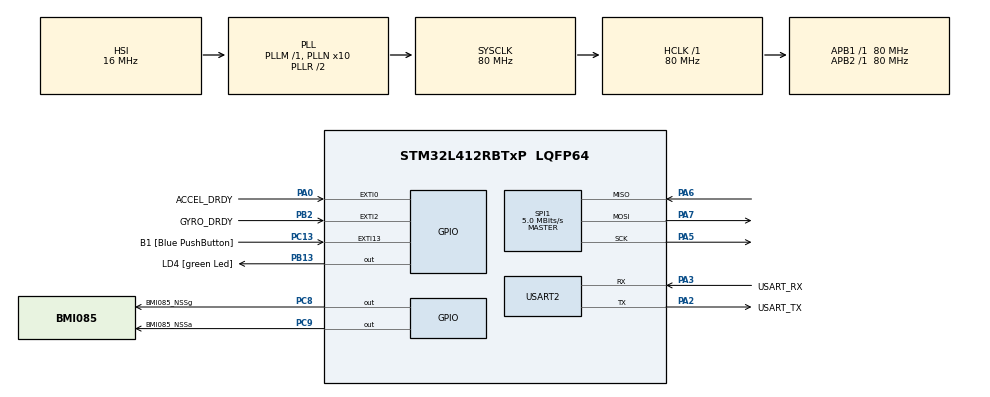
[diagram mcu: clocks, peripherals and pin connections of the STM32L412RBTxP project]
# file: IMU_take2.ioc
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Dma.Request0=SPI1_RX
Dma.Request1=SPI1_TX
Dma.SPI1_RX.0.Direction=DMA_PERIPH_TO_MEMORY
Dma.SPI1_RX.0.Instance=DMA1_Channel2
Dma.SPI1_RX.0.MemDataAlignment=DMA_MDATAALIGN_BYTE
Dma.SPI1_RX.0.MemInc=DMA_MINC_ENABLE
Dma.SPI1_RX.0.Mode=DMA_NORMAL
Dma.SPI1_RX.0.PeriphDataAlignment=DMA_PDATAALIGN_BYTE
Dma.SPI1_RX.0.PeriphInc=DMA_PINC_DISABLE
Dma.SPI1_RX.0.Priority=DMA_PRIORITY_LOW
Dma.SPI1_TX.1.Direction=DMA_MEMORY_TO_PERIPH
Dma.SPI1_TX.1.Instance=DMA1_Channel3
Dma.SPI1_TX.1.MemDataAlignment=DMA_MDATAALIGN_BYTE
Dma.SPI1_TX.1.MemInc=DMA_MINC_ENABLE
Dma.SPI1_TX.1.Mode=DMA_NORMAL
Dma.SPI1_TX.1.PeriphDataAlignment=DMA_PDATAALIGN_BYTE
Dma.SPI1_TX.1.PeriphInc=DMA_PINC_DISABLE
Dma.SPI1_TX.1.Priority=DMA_PRIORITY_LOW
Mcu.Family=STM32L4
Mcu.Name=STM32L412RBTxP
Mcu.Package=LQFP64
NVIC.DMA1_Channel2_IRQn=true\:0\:0\:false\:false\:true\:false\:true\:true
NVIC.DMA1_Channel3_IRQn=true\:0\:0\:false\:false\:true\:false\:true\:true
NVIC.EXTI0_IRQn=true\:0\:0\:false\:false\:true\:true\:true\:true
NVIC.EXTI2_IRQn=true\:0\:0\:false\:false\:true\:true\:true\:true
NVIC.PriorityGroup=NVIC_PRIORITYGROUP_4
PA0.GPIO_Label=ACCEL_DRDY
PA0.GPIO_ModeDefaultEXTI=GPIO_MODE_IT_FALLING
PA0.Signal=GPXTI0
PA13\ (JTMS/SWDIO).GPIO_Label=TMS
PA13\ (JTMS/SWDIO).Mode=Serial_Wire
PA13\ (JTMS/SWDIO).Signal=SYS_JTMS-SWDIO
PA14\ (JTCK/SWCLK).GPIO_Label=TCK
PA14\ (JTCK/SWCLK).Mode=Serial_Wire
PA14\ (JTCK/SWCLK).Signal=SYS_JTCK-SWCLK
PA2.GPIO_Label=USART_TX
PA2.GPIO_PuPd=GPIO_NOPULL
PA2.GPIO_Speed=GPIO_SPEED_FREQ_VERY_HIGH
PA2.Mode=Asynchronous
PA2.Signal=USART2_TX
PA3.GPIO_Label=USART_RX
PA3.GPIO_PuPd=GPIO_NOPULL
PA3.GPIO_Speed=GPIO_SPEED_FREQ_VERY_HIGH
PA3.Mode=Asynchronous
PA3.Signal=USART2_RX
PA5.Mode=Full_Duplex_Master
PA5.Signal=SPI1_SCK
PA6.Mode=Full_Duplex_Master
PA6.Signal=SPI1_MISO
PA7.Mode=Full_Duplex_Master
PA7.Signal=SPI1_MOSI
PB13.GPIO_Label=LD4 [green Led]
PB13.GPIO_Speed=GPIO_SPEED_FREQ_LOW
PB13.Signal=GPIO_Output
PB2.GPIO_Label=GYRO_DRDY
PB2.GPIO_ModeDefaultEXTI=GPIO_MODE_IT_FALLING
PB2.Signal=GPXTI2
PB3\ (JTDO/TRACESWO).GPIO_Label=SWO
PB3\ (JTDO/TRACESWO).Signal=SYS_JTDO-SWO
PC13.GPIO_Label=B1 [Blue PushButton]
PC13.GPIO_ModeDefaultEXTI=GPIO_MODE_IT_FALLING
PC13.GPIO_PuPd=GPIO_NOPULL
PC13.Signal=GPXTI13
PC8.GPIO_Label=BMI085_NSSg
PC8.GPIO_Speed=GPIO_SPEED_FREQ_LOW
PC8.PinState=GPIO_PIN_SET
PC8.Signal=GPIO_Output
PC9.GPIO_Label=BMI085_NSSa
PC9.GPIO_Speed=GPIO_SPEED_FREQ_LOW
PC9.PinState=GPIO_PIN_SET
PC9.Signal=GPIO_Output
PH0-OSC_IN\ (PH0).GPIO_Label=MCO
PH0-OSC_IN\ (PH0).Mode=HSE-External-Clock-Source
PH0-OSC_IN\ (PH0).Signal=RCC_OSC_IN
ProjectManager.HeapSize=0x2000
ProjectManager.StackSize=0x4000
ProjectManager.TargetToolchain=STM32CubeIDE
RCC.ADCFreq_Value=80000000
RCC.AHBFreq_Value=80000000
RCC.APB1Freq_Value=80000000
RCC.APB1TimFreq_Value=80000000
RCC.APB2Freq_Value=80000000
RCC.APB2TimFreq_Value=80000000
RCC.CortexFreq_Value=80000000
RCC.HCLKFreq_Value=80000000
RCC.HSE_VALUE=8000000
RCC.HSI48_VALUE=48000000
RCC.HSI_VALUE=16000000
RCC.LSE_VALUE=32768
RCC.MSI_VALUE=4000000
RCC.PLLN=10
RCC.PLLSourceVirtual=RCC_PLLSOURCE_HSI
RCC.SYSCLKFreq_VALUE=80000000
RCC.SYSCLKSource=RCC_SYSCLKSOURCE_PLLCLK
RCC.USBFreq_Value=4000000
RCC.VCOOutputFreq_Value=160000000
SPI1.BaudRatePrescaler=SPI_BAUDRATEPRESCALER_16
SPI1.CalculateBaudRate=5.0 MBits/s
SPI1.DataSize=SPI_DATASIZE_8BIT
SPI1.Direction=SPI_DIRECTION_2LINES
SPI1.Mode=SPI_MODE_MASTER
SPI1.VirtualType=VM_MASTER
TIM2.Period=0xffffffff-1
TIM2.Prescaler=80-1
USART2.VirtualMode-Asynchronous=VM_ASYNC
VP_TIM2_VS_ClockSourceINT.Mode=Internal
board=NUCLEO-L412RB-P

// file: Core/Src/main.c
/* USER CODE BEGIN Header */
/**
 ******************************************************************************
 * @file           : main.c
 * @brief          : Main program body
 ******************************************************************************
 * @attention
 *
 * Copyright (c) 2023 STMicroelectronics.
 * All rights reserved.
 *
 * This software is licensed under terms that can be found in the LICENSE file
 * in the root directory of this software component.
 * If no LICENSE file comes with this software, it is provided AS-IS.
 *
 ******************************************************************************
 */
/* USER CODE END Header */
#include "main.h"

/* USER CODE BEGIN Includes */
#include <stdio.h>
#include <stdlib.h>
#include <stdint.h>
#include <string.h>
#include <math.h>
#include "bmi08x.h"
#include "bmi08x_defs.h"

/* USER CODE END Includes */

/* USER CODE BEGIN PM */
#define GRAVITY_EARTH  (9.80665f)

/******************************************************************************/
/*!                       Macro definitions                                   */

#define BMI08X_READ_WRITE_LEN  UINT8_C(46)

/*! BMI085 shuttle id */
#define BMI085_SHUTTLE_ID      UINT16_C(0x46)

/*! BMI088 shuttle id */
#define BMI088_SHUTTLE_ID      UINT16_C(0x66)

/* USER CODE END PM */

SPI_HandleTypeDef hspi1;
DMA_HandleTypeDef hdma_spi1_rx;
DMA_HandleTypeDef hdma_spi1_tx;

TIM_HandleTypeDef htim2;

UART_HandleTypeDef huart2;

/* USER CODE BEGIN PV */

/*********************************************************************/
/* global variables */
/*********************************************************************/
unsigned char data_sync_int = false;
unsigned char accel_data_ready = false;
unsigned char gyro_data_ready = false;
volatile uint8_t rx_rdy = 1;
volatile uint8_t tx_rdy = 1;

uint8_t * current_reg_data_ptr;
uint32_t current__len = 0;
uint16_t dev_addr;

uint8_t error_status = 0;
/*! @brief This structure containing relevant bmi08x info */
struct bmi08x_dev bmi08xdev;

/*! bmi08x int config */
struct bmi08x_int_cfg int_config;

/*Data Sync configuration object*/
struct bmi08x_data_sync_cfg sync_cfg;

/*! bmi08x accel int config */
struct bmi08x_accel_int_channel_cfg accel_int_config;

/*! bmi08x gyro int config */
struct bmi08x_gyro_int_channel_cfg gyro_int_config;

/*! @brief variable to hold the bmi08x accel data */
struct bmi08x_sensor_data bmi08x_accel;

/*! @brief variable to hold the bmi08x gyro data */
struct bmi08x_sensor_data bmi08x_gyro;

///*! Variable that holds the I2C device address or SPI chip selection for accel */
uint16_t acc_dev_add;
//
///*! Variable that holds the I2C device address or SPI chip selection for gyro */
uint16_t gyro_dev_add;
/* USER CODE END PV */

void SystemClock_Config(void);
static void MX_GPIO_Init(void);
static void MX_DMA_Init(void);
static void MX_USART2_UART_Init(void);
static void MX_SPI1_Init(void);
static void MX_TIM2_Init(void);
/* USER CODE BEGIN PFP */

/*********************************************************************/
/* function declarations */
/*********************************************************************/
BMI08X_INTF_RET_TYPE bmi08x_spi_read(uint8_t reg_addr, uint8_t *reg_data,
		uint32_t len, void *intf_ptr);

/*!
 *  @brief Function for writing the sensor's registers through SPI bus.
 *
 *  @param[in] reg_addr     : Register address.
 *  @param[in] reg_data     : Pointer to the data buffer whose data has to be written.
 *  @param[in] length       : No of bytes to write.
 *  @param[in] intf_ptr     : Interface pointer
 *
 *  @return Status of execution
 *  @retval = BMI08X_INTF_RET_SUCCESS -> Success
 *  @retval != BMI08X_INTF_RET_SUCCESS  -> Failure Info
 *
 */
BMI08X_INTF_RET_TYPE bmi08x_spi_write(uint8_t reg_addr, const uint8_t *reg_data,
		uint32_t len, void *intf_ptr);

/*!
 * @brief This function provides the delay for required time (Microsecond) as per the input provided in some of the
 * APIs.
 *
 *  @param[in] period_us    : The required wait time in microsecond.
 *  @param[in] intf_ptr     : Interface pointer
 *
 *  @return void.
 *
 */
void bmi08x_delay_us(uint32_t period, void *intf_ptr);

/*!
 *  @brief Function to select the interface between SPI and I2C.
 *
 *  @param[in] bma      : Structure instance of bmi08x_dev
 *  @param[in] intf     : Interface selection parameter
 *                          For I2C : BMI08X_I2C_INTF
 *                          For SPI : BMI08X_SPI_INTF
 *  @param[in] variant  : Sensor variant parameter
 *                          For BMI085 : BMI085_VARIANT
 *                          For BMI088 : BMI088_VARIANT
 *
 *  @return Status of execution
 *  @retval 0 -> Success
 *  @retval < 0 -> Failure Info
 */
int8_t bmi08x_interface_init(struct bmi08x_dev *bma, uint8_t intf,
		uint8_t variant);

/*!
 *  @brief Prints the execution status of the APIs.
 *
 *  @param[in] api_name : Name of the API whose execution status has to be printed.
 *  @param[in] rslt     : Error code returned by the API whose execution status has to be printed.
 *
 *  @return void.
 */
void bmi08x_error_codes_print_result(const char api_name[], int8_t rslt);

/*!
 *  @brief This internal function converts lsb to meter per second squared for 16 bit accelerometer for
 *  range 2G, 4G, 8G or 16G.
 *
 *  @param[in] val       : LSB from each axis.
 *  @param[in] g_range   : Gravity range.
 *  @param[in] bit_width : Resolution for accel.
 *
 *  @return Gravity.
 */
static float lsb_to_mps2(int16_t val, int8_t g_range, uint8_t bit_width);

/*!
 *  @brief This function converts lsb to degree per second for 16 bit gyro at
 *  range 125, 250, 500, 1000 or 2000dps.
 *
 *  @param[in] val       : LSB from each axis.
 *  @param[in] dps       : Degree per second.
 *  @param[in] bit_width : Resolution for gyro.
 *
 *  @return Degree per second.
 */
static float lsb_to_dps(int16_t val, float dps, uint8_t bit_width);

/*!
 * @brief    This internal API is used to initialize the bmi08x sensor
 */
static int8_t init_bmi08x_sync(void);
static int8_t init_bmi08x_get_data(void);

/*!
 * @brief    BMI08x data sync. interrupt callback
 */
void bmi08x_data_sync_int();

/* USER CODE END PFP */

/* USER CODE BEGIN 0 */

#ifdef __GNUC__
#define PUTCHAR_PROTOTYPE int __io_putchar(int ch)
#else
#define PUTCHAR_PROTOTYPE int fputc(int ch, FILE *f)
#endif

PUTCHAR_PROTOTYPE {
	HAL_UART_Transmit(&huart2, (uint8_t*) &ch, 1, HAL_MAX_DELAY);
}
/*********************************************************************/
/* functions */
/*********************************************************************/

/*!
 *  @brief This internal API is used to initializes the bmi08x sensor
 *  settings like power mode and OSRS settings.
 *
 *  @param[in] void
 *
 *  @return void
 *
 */
static int8_t init_bmi08x_get_data(void) {
	int8_t rslt;

	rslt = bmi08a_init(&bmi08xdev);
	bmi08x_error_codes_print_result("bmi08a_init", rslt);
	printf("Accel init\n\r");

	if (rslt == BMI08X_OK) {

		rslt = bmi08g_init(&bmi08xdev);
		bmi08x_error_codes_print_result("bmi08g_init", rslt);
		printf("Gyro init\n\r");
	}
//	printf("help\n");
//    if (rslt == BMI08X_OK)
//    {
//        printf("Uploading config file !\n");
//        rslt = bmi08a_load_config_file(&bmi08xdev);
//        bmi08x_error_codes_print_result("bmi08a_load_config_file", rslt);
//    }

	if (rslt == BMI08X_OK) {
		printf("init done\n\r");
		bmi08xdev.accel_cfg.odr = BMI08X_ACCEL_ODR_1600_HZ;

		if (bmi08xdev.variant == BMI085_VARIANT) {
			bmi08xdev.accel_cfg.range = BMI085_ACCEL_RANGE_16G;
		} else if (bmi08xdev.variant == BMI088_VARIANT) {
			bmi08xdev.accel_cfg.range = BMI088_ACCEL_RANGE_24G;
		}

		bmi08xdev.accel_cfg.power = BMI08X_ACCEL_PM_ACTIVE; /*user_accel_power_modes[user_bmi088_accel_low_power]; */
		bmi08xdev.accel_cfg.bw = BMI08X_ACCEL_BW_NORMAL; /* Bandwidth and OSR are same */

		rslt = bmi08a_set_power_mode(&bmi08xdev);
		bmi08x_error_codes_print_result("bmi08a_set_power_mode", rslt);

		rslt = bmi08a_set_meas_conf(&bmi08xdev);
		bmi08x_error_codes_print_result("bmi08a_set_meas_conf", rslt);

		bmi08xdev.gyro_cfg.odr = BMI08X_GYRO_BW_230_ODR_2000_HZ;
		bmi08xdev.gyro_cfg.range = BMI08X_GYRO_RANGE_250_DPS;
		bmi08xdev.gyro_cfg.bw = BMI08X_GYRO_BW_230_ODR_2000_HZ;
		bmi08xdev.gyro_cfg.power = BMI08X_GYRO_PM_NORMAL;

		rslt = bmi08g_set_power_mode(&bmi08xdev);
		bmi08x_error_codes_print_result("bmi08g_set_power_mode", rslt);

		rslt = bmi08g_set_meas_conf(&bmi08xdev);
		bmi08x_error_codes_print_result("bmi08g_set_meas_conf", rslt);
	}

	return rslt;

}

/*!
 *  @brief This internal API is used to initializes the bmi08x sensor with default.
 *
 *  @param[in] void
 *
 *  @return void
 *
 */
static int8_t init_bmi08x_sync(void) {
	int8_t rslt;

	/* Initialize bmi08a */
	rslt = bmi08a_init(&bmi08xdev);
	bmi08x_error_codes_print_result("bmi08a_init", rslt);

	/* Initialize bmi08g */
	rslt = bmi08g_init(&bmi08xdev);
	bmi08x_error_codes_print_result("bmi08g_init", rslt);

	if (rslt == BMI08X_OK) {
		printf("BMI08x initialization success!\n");
		printf("Accel chip ID - 0x%x\n", bmi08xdev.accel_chip_id);
		printf("Gyro chip ID - 0x%x\n", bmi08xdev.gyro_chip_id);

		/* Reset the accelerometer */
		rslt = bmi08a_soft_reset(&bmi08xdev);
		bmi08x_error_codes_print_result("bmi08a_soft_reset", rslt);

		/* Read/write length */
		bmi08xdev.read_write_len = 32;

		printf("Uploading BMI08X data synchronization feature config !\n");
		rslt = bmi08a_load_config_file(&bmi08xdev);
		bmi08x_error_codes_print_result("bmi08a_load_config_file", rslt);

		/* Set accel power mode */
		bmi08xdev.accel_cfg.power = BMI08X_ACCEL_PM_ACTIVE;
		rslt = bmi08a_set_power_mode(&bmi08xdev);
		bmi08x_error_codes_print_result("bmi08a_set_power_mode", rslt);

		if (rslt == BMI08X_OK) {
			bmi08xdev.gyro_cfg.power = BMI08X_GYRO_PM_NORMAL;
			rslt = bmi08g_set_power_mode(&bmi08xdev);
			bmi08x_error_codes_print_result("bmi08g_set_power_mode", rslt);
		}

		if ((bmi08xdev.accel_cfg.power == BMI08X_ACCEL_PM_ACTIVE)
				&& (bmi08xdev.gyro_cfg.power == BMI08X_GYRO_PM_NORMAL)) {
			/* API uploads the bmi08x config file onto the device */
			if (rslt == BMI08X_OK) {
				/* Assign accel range setting */
				if (bmi08xdev.variant == BMI085_VARIANT) {
					bmi08xdev.accel_cfg.range = BMI085_ACCEL_RANGE_16G;
				} else if (bmi08xdev.variant == BMI088_VARIANT) {
					bmi08xdev.accel_cfg.range = BMI088_ACCEL_RANGE_24G;
				}

				/* Assign gyro range setting */
				bmi08xdev.gyro_cfg.range = BMI08X_GYRO_RANGE_2000_DPS;

				/* Mode (0 = off, 1 = 400Hz, 2 = 1kHz, 3 = 2kHz) */
				sync_cfg.mode = BMI08X_ACCEL_DATA_SYNC_MODE_400HZ;

				rslt = bmi08a_configure_data_synchronization(sync_cfg,
						&bmi08xdev);
				bmi08x_error_codes_print_result(
						"bmi08a_configure_data_synchronization", rslt);
			}

			if (rslt == BMI08X_OK) {
				printf("BMI08x data synchronization feature configured !\n\n");
			} else {
				printf(
						"BMI08x data synchronization feature configuration failure!\n\n");
			}
		}
	}

	return rslt;
}
/*!
 *  @brief This API is used to enable bmi08x interrupt
 *
 *  @param[in] void
 *
 *  @return void
 *
 */
static int8_t enable_bmi08x_interrupt() {
	int8_t rslt;
	uint8_t data = 0;

	/* Set accel interrupt pin configuration */
	accel_int_config.int_channel = BMI08X_INT_CHANNEL_1;
	accel_int_config.int_type = BMI08X_ACCEL_INT_DATA_RDY;
	accel_int_config.int_pin_cfg.output_mode = BMI08X_INT_MODE_PUSH_PULL;
	accel_int_config.int_pin_cfg.lvl = BMI08X_INT_ACTIVE_HIGH;
	accel_int_config.int_pin_cfg.enable_int_pin = BMI08X_ENABLE;

	/* Enable accel data ready interrupt channel */
	rslt = bmi08a_set_int_config(
			(const struct bmi08x_accel_int_channel_cfg*) &accel_int_config,
			&bmi08xdev);
	bmi08x_error_codes_print_result("bmi08a_set_int_config", rslt);

	if (rslt == BMI08X_OK) {
		/* Set gyro interrupt pin configuration */
		gyro_int_config.int_channel = BMI08X_INT_CHANNEL_3;
		gyro_int_config.int_type = BMI08X_GYRO_INT_DATA_RDY;
		gyro_int_config.int_pin_cfg.output_mode = BMI08X_INT_MODE_PUSH_PULL;
		gyro_int_config.int_pin_cfg.lvl = BMI08X_INT_ACTIVE_HIGH;
		gyro_int_config.int_pin_cfg.enable_int_pin = BMI08X_ENABLE;

		/* Enable gyro data ready interrupt channel */
		rslt = bmi08g_set_int_config(
				(const struct bmi08x_gyro_int_channel_cfg*) &gyro_int_config,
				&bmi08xdev);
		bmi08x_error_codes_print_result("bmi08g_set_int_config", rslt);

		rslt = bmi08g_get_regs(BMI08X_REG_GYRO_INT3_INT4_IO_MAP, &data, 1,
				&bmi08xdev);
		bmi08x_error_codes_print_result("bmi08g_get_regs", rslt);
	}

	return rslt;
}

/*!
 *  @brief This API is used to disable bmi08x interrupt
 *
 *  @param[in] void
 *
 *  @return void
 *
 */
static int8_t disable_bmi08x_interrupt() {
	int8_t rslt;

	/* Set accel interrupt pin configuration */
	accel_int_config.int_channel = BMI08X_INT_CHANNEL_1;
	accel_int_config.int_type = BMI08X_ACCEL_INT_DATA_RDY;
	accel_int_config.int_pin_cfg.output_mode = BMI08X_INT_MODE_PUSH_PULL;
	accel_int_config.int_pin_cfg.lvl = BMI08X_INT_ACTIVE_HIGH;
	accel_int_config.int_pin_cfg.enable_int_pin = BMI08X_DISABLE;

	/* Disable accel data ready interrupt channel */
	rslt = bmi08a_set_int_config(
			(const struct bmi08x_accel_int_channel_cfg*) &accel_int_config,
			&bmi08xdev);
	bmi08x_error_codes_print_result("bmi08a_set_int_config", rslt);

	if (rslt == BMI08X_OK) {
		/* Set gyro interrupt pin configuration */
		gyro_int_config.int_channel = BMI08X_INT_CHANNEL_3;
		gyro_int_config.int_type = BMI08X_GYRO_INT_DATA_RDY;
		gyro_int_config.int_pin_cfg.output_mode = BMI08X_INT_MODE_PUSH_PULL;
		gyro_int_config.int_pin_cfg.lvl = BMI08X_INT_ACTIVE_HIGH;
		gyro_int_config.int_pin_cfg.enable_int_pin = BMI08X_DISABLE;

		/* Disable gyro data ready interrupt channel */
		rslt = bmi08g_set_int_config(
				(const struct bmi08x_gyro_int_channel_cfg*) &gyro_int_config,
				&bmi08xdev);
		bmi08x_error_codes_print_result("bmi08g_set_int_config", rslt);
	}

	return rslt;
}

/*!
 *  @brief This internal API is used to enable data synchronization interrupt.
 *
 *  @return int8_t
 *
 */
static int8_t enable_bmi08x_data_synchronization_interrupt() {
	int8_t rslt = BMI08X_OK;

	/* Set accel interrupt pin configuration */
	/* Configure host data ready interrupt */
	int_config.accel_int_config_1.int_channel = BMI08X_INT_CHANNEL_2;
	int_config.accel_int_config_1.int_type = BMI08X_ACCEL_SYNC_INPUT;
	int_config.accel_int_config_1.int_pin_cfg.output_mode =
	BMI08X_INT_MODE_PUSH_PULL;
	int_config.accel_int_config_1.int_pin_cfg.lvl = BMI08X_INT_ACTIVE_HIGH;
	int_config.accel_int_config_1.int_pin_cfg.enable_int_pin =
	BMI08X_ENABLE;

	/* Configure Accel syncronization input interrupt pin */
	int_config.accel_int_config_2.int_channel = BMI08X_INT_CHANNEL_1;
	int_config.accel_int_config_2.int_type = BMI08X_ACCEL_INT_SYNC_DATA_RDY;
	int_config.accel_int_config_2.int_pin_cfg.output_mode =
	BMI08X_INT_MODE_PUSH_PULL;
	int_config.accel_int_config_2.int_pin_cfg.lvl = BMI08X_INT_ACTIVE_HIGH;
	int_config.accel_int_config_2.int_pin_cfg.enable_int_pin =
	BMI08X_ENABLE;

	/* Set gyro interrupt pin configuration */
	int_config.gyro_int_config_1.int_channel = BMI08X_INT_CHANNEL_4;
	int_config.gyro_int_config_1.int_type = BMI08X_GYRO_INT_DATA_RDY;
	int_config.gyro_int_config_1.int_pin_cfg.enable_int_pin = BMI08X_ENABLE;
	int_config.gyro_int_config_1.int_pin_cfg.lvl = BMI08X_INT_ACTIVE_HIGH;
	int_config.gyro_int_config_1.int_pin_cfg.output_mode =
	BMI08X_INT_MODE_PUSH_PULL;

	int_config.gyro_int_config_2.int_channel = BMI08X_INT_CHANNEL_3;
	int_config.gyro_int_config_2.int_type = BMI08X_GYRO_INT_DATA_RDY;
	int_config.gyro_int_config_2.int_pin_cfg.enable_int_pin =
	BMI08X_DISABLE;
	int_config.gyro_int_config_2.int_pin_cfg.lvl = BMI08X_INT_ACTIVE_HIGH;
	int_config.gyro_int_config_2.int_pin_cfg.output_mode =
	BMI08X_INT_MODE_PUSH_PULL;

	/* Enable synchronization interrupt pin */
	rslt = bmi08a_set_data_sync_int_config(&int_config, &bmi08xdev);
	bmi08x_error_codes_print_result("bmi08a_set_data_sync_int_config", rslt);

	return rslt;
}

/*!
 *  @brief This internal API is used to disable data synchronization interrupt.
 *
 *  @param[in] void
 *
 *  @return int8_t
 *
 */
static int8_t disable_bmi08x_data_synchronization_interrupt() {
	int8_t rslt;

	/*turn off the sync feature*/
	sync_cfg.mode = BMI08X_ACCEL_DATA_SYNC_MODE_OFF;

	rslt = bmi08a_configure_data_synchronization(sync_cfg, &bmi08xdev);
	bmi08x_error_codes_print_result("bmi08a_configure_data_synchronization",
			rslt);

	/* Wait for 150ms to enable the data synchronization --delay taken care inside the function */
	/* configure synchronization interrupt pins */
	if (rslt == BMI08X_OK) {
		/* Set accel interrupt pin configuration */
		/* Configure host data ready interrupt */
#if defined(MCU_APP20)
	        int_config.accel_int_config_1.int_channel = BMI08X_INT_CHANNEL_1;
	    #elif defined(MCU_APP30)
	        int_config.accel_int_config_1.int_channel = BMI08X_INT_CHANNEL_2;
	    #endif
		int_config.accel_int_config_1.int_type = BMI08X_ACCEL_SYNC_INPUT;
		int_config.accel_int_config_1.int_pin_cfg.output_mode =
		BMI08X_INT_MODE_PUSH_PULL;
		int_config.accel_int_config_1.int_pin_cfg.lvl =
		BMI08X_INT_ACTIVE_HIGH;
		int_config.accel_int_config_1.int_pin_cfg.enable_int_pin =
		BMI08X_DISABLE;

		/* Configure Accel synchronization input interrupt pin */
#if defined(MCU_APP20)
	        int_config.accel_int_config_2.int_channel = BMI08X_INT_CHANNEL_2;
	    #elif defined(MCU_APP30)
	        int_config.accel_int_config_2.int_channel = BMI08X_INT_CHANNEL_1;
	    #endif
		int_config.accel_int_config_2.int_type = BMI08X_ACCEL_INT_SYNC_DATA_RDY;
		int_config.accel_int_config_2.int_pin_cfg.output_mode =
		BMI08X_INT_MODE_PUSH_PULL;
		int_config.accel_int_config_2.int_pin_cfg.lvl =
		BMI08X_INT_ACTIVE_HIGH;
		int_config.accel_int_config_2.int_pin_cfg.enable_int_pin =
		BMI08X_DISABLE;

		/* Set gyro interrupt pin configuration */
#if defined(MCU_APP20)
	        int_config.gyro_int_config_1.int_channel = BMI08X_INT_CHANNEL_3;
	    #elif defined(MCU_APP30)
	        int_config.gyro_int_config_1.int_channel = BMI08X_INT_CHANNEL_4;
	    #endif
		int_config.gyro_int_config_1.int_type = BMI08X_GYRO_INT_DATA_RDY;
		int_config.gyro_int_config_1.int_pin_cfg.lvl =
		BMI08X_INT_ACTIVE_HIGH;
		int_config.gyro_int_config_1.int_pin_cfg.output_mode =
		BMI08X_INT_MODE_PUSH_PULL;
		int_config.gyro_int_config_1.int_pin_cfg.enable_int_pin =
		BMI08X_DISABLE;

#if defined(MCU_APP20)
	        int_config.gyro_int_config_2.int_channel = BMI08X_INT_CHANNEL_4;
	    #elif defined(MCU_APP30)
	        int_config.gyro_int_config_2.int_channel = BMI08X_INT_CHANNEL_3;
	    #endif
		int_config.gyro_int_config_2.int_type = BMI08X_GYRO_INT_DATA_RDY;
		int_config.gyro_int_config_2.int_pin_cfg.enable_int_pin =
		BMI08X_DISABLE;
		int_config.gyro_int_config_2.int_pin_cfg.lvl =
		BMI08X_INT_ACTIVE_HIGH;
		int_config.gyro_int_config_2.int_pin_cfg.output_mode =
		BMI08X_INT_MODE_PUSH_PULL;

		/* Disable synchronization interrupt pin */
		rslt = bmi08a_set_data_sync_int_config(&int_config, &bmi08xdev);
		bmi08x_error_codes_print_result("bmi08a_set_data_sync_int_config",
				rslt);
	}

	return rslt;
}

/* USER CODE END 0 */

int main(void)
{

  /* MCU Configuration--------------------------------------------------------*/

  /* Reset of all peripherals, Initializes the Flash interface and the Systick. */
  HAL_Init();

  /* Configure the system clock */
  SystemClock_Config();

  /* Initialize all configured peripherals */
  MX_GPIO_Init();
  MX_DMA_Init();
  MX_USART2_UART_Init();
  MX_SPI1_Init();
  MX_TIM2_Init();
  /* USER CODE BEGIN 2 */

	int8_t rslt;
	float x = 0.0, y = 0.0, z = 0.0;
	int times_to_read = 0;
	uint8_t status = 0;

	HAL_TIM_Base_Start(&htim2);
	//	HAL_GPIO_WritePin(GPIOB, LED_Pin, GPIO_PIN_SET);
//	printf("Hello\n\r");
//  	init_handle(&bmi085_handle);

// This is where we would set the CS for accel/gyro, urrently have the .ioc just have the GPIO pins output high
	rslt = bmi08x_interface_init(&bmi08xdev, BMI08X_SPI_INTF, BMI085_VARIANT);
	bmi08x_error_codes_print_result("bmi08x_interface_init", rslt);
	printf("Init attempted\r\n");
//	HAL_Delay(1000);
//	bmi08x_delay_us(10000,0);

	if(rslt == BMI08X_OK){
		rslt = init_bmi08x_get_data(); // An API function that has very few edits from me, should just work if wired properly and spi read/write works
		bmi08x_error_codes_print_result("init_bmi08x_get_data", rslt);
		printf("Init attempted read/write\r\n");
	}
//	bmi08x_delay_us(10000,0);

	if(rslt == BMI08X_OK){
		rslt = enable_bmi08x_interrupt();
		bmi08x_error_codes_print_result("enable_bmi08x_interrupt", rslt);
		printf("Int init attempted\r\n");
	}

	printf("Accel data range : 16G for BMI085 and 24G for BMI088\n\r");
	printf("Gyro data range : 250 dps for BMI085 and BMI088\n\n\r");

	if (rslt == BMI08X_OK) {
		if (bmi08xdev.accel_cfg.power == BMI08X_ACCEL_PM_ACTIVE) {
			printf("\nACCEL DATA\n\r");
			printf("Accel data in LSB units and Gravity data in m/s^2\n\r");
			printf("Accel data range : 16G for BMI085 and 24G for BMI088\n\n\r");

			printf(
					"Sample_Count, Acc_Raw_X, Acc_Raw_Y, Acc_Raw_Z, Acc_ms2_X, Acc_ms2_Y, Acc_ms2_Z\n\r");

			while (times_to_read < 10) {

				rslt = bmi08a_get_data_int_status(&status, &bmi08xdev);
				bmi08x_error_codes_print_result("bmi08a_get_data_int_status",
						rslt);

				if (status & BMI08X_ACCEL_DATA_READY_INT) {
					rslt = bmi08a_get_data(&bmi08x_accel, &bmi08xdev);
					bmi08x_error_codes_print_result("bmi08a_get_data", rslt);

					if (bmi08xdev.variant == BMI085_VARIANT) {
						/* Converting lsb to meter per second squared for 16 bit accelerometer at 16G range. */
						x = lsb_to_mps2(bmi08x_accel.x, 16, 16);
						y = lsb_to_mps2(bmi08x_accel.y, 16, 16);
						z = lsb_to_mps2(bmi08x_accel.z, 16, 16);
					} else if (bmi08xdev.variant == BMI088_VARIANT) {
						/* Converting lsb to meter per second squared for 16 bit accelerometer at 24G range. */
						x = lsb_to_mps2(bmi08x_accel.x, 24, 16);
						y = lsb_to_mps2(bmi08x_accel.y, 24, 16);
						z = lsb_to_mps2(bmi08x_accel.z, 24, 16);
					}

					printf("%d, %5d, %5d, %5d, %4.2f, %4.2f, %4.2f\n\r",
							times_to_read, bmi08x_accel.x, bmi08x_accel.y,
							bmi08x_accel.z, x, y, z);

					times_to_read = times_to_read + 1;

				}
//				bmi08x_delay_us(1000,0);
			}
		}

		if (bmi08xdev.gyro_cfg.power == BMI08X_GYRO_PM_NORMAL) {
			times_to_read = 0;

			printf("\n\nGYRO DATA\n");
			printf("Gyro data in LSB units and degrees per second\n\r");
			printf("Gyro data range : 250 dps for BMI085 and BMI088\n\n\r");

			printf(
					"Sample_Count, Gyr_Raw_X, Gyr_Raw_Y, Gyr_Raw_Z, Gyr_DPS_X, Gyr_DPS_Y, Gyr_DPS_Z\n\r");

			while (times_to_read < 10) {
				rslt = bmi08g_get_data_int_status(&status, &bmi08xdev);
				bmi08x_error_codes_print_result("bmi08g_get_data_int_status",
						rslt);
				if(rslt == BMI08X_OK)
					if (status & BMI08X_GYRO_DATA_READY_INT) {
						rslt = bmi08g_get_data(&bmi08x_gyro, &bmi08xdev);
						bmi08x_error_codes_print_result("bmi08g_get_data", rslt);

						/* Converting lsb to degree per second for 16 bit gyro at 250 dps range. */
						x = lsb_to_dps(bmi08x_gyro.x, (float) 250, 16);
						y = lsb_to_dps(bmi08x_gyro.y, (float) 250, 16);
						z = lsb_to_dps(bmi08x_gyro.z, (float) 250, 16);

						printf("%d, %5d, %5d, %5d, %4.2f, %4.2f, %4.2f\n\r",
								times_to_read, bmi08x_gyro.x, bmi08x_gyro.y,
								bmi08x_gyro.z, x, y, z);

						times_to_read = times_to_read + 1;
					}
//				bmi08x_delay_us(1000,0);
			}
		}
	}
	printf("%d\r\n", error_status);
	printf("End of file\r\n");
	if(rslt == BMI08X_OK){
		rslt = disable_bmi08x_interrupt();
		bmi08x_error_codes_print_result("disable_bmi08_interrupt", rslt);
	}
	return 0;

  /* USER CODE END 2 */

  /* Infinite loop */
  /* USER CODE BEGIN WHILE */
//  while (1)
//  {
    /* USER CODE END WHILE */

    /* USER CODE BEGIN 3 */
////	 printf("Hello\n");
//  }
  /* USER CODE END 3 */
}

void SystemClock_Config(void)
{
  RCC_OscInitTypeDef RCC_OscInitStruct = {0};
  RCC_ClkInitTypeDef RCC_ClkInitStruct = {0};

  /** Configure the main internal regulator output voltage
  */
  if (HAL_PWREx_ControlVoltageScaling(PWR_REGULATOR_VOLTAGE_SCALE1) != HAL_OK)
  {
    Error_Handler();
  }

  /** Initializes the RCC Oscillators according to the specified parameters
  * in the RCC_OscInitTypeDef structure.
  */
  RCC_OscInitStruct.OscillatorType = RCC_OSCILLATORTYPE_HSI;
  RCC_OscInitStruct.HSIState = RCC_HSI_ON;
  RCC_OscInitStruct.HSICalibrationValue = RCC_HSICALIBRATION_DEFAULT;
  RCC_OscInitStruct.PLL.PLLState = RCC_PLL_ON;
  RCC_OscInitStruct.PLL.PLLSource = RCC_PLLSOURCE_HSI;
  RCC_OscInitStruct.PLL.PLLM = 1;
  RCC_OscInitStruct.PLL.PLLN = 10;
  RCC_OscInitStruct.PLL.PLLQ = RCC_PLLQ_DIV2;
  RCC_OscInitStruct.PLL.PLLR = RCC_PLLR_DIV2;
  if (HAL_RCC_OscConfig(&RCC_OscInitStruct) != HAL_OK)
  {
    Error_Handler();
  }

  /** Initializes the CPU, AHB and APB buses clocks
  */
  RCC_ClkInitStruct.ClockType = RCC_CLOCKTYPE_HCLK|RCC_CLOCKTYPE_SYSCLK
                              |RCC_CLOCKTYPE_PCLK1|RCC_CLOCKTYPE_PCLK2;
  RCC_ClkInitStruct.SYSCLKSource = RCC_SYSCLKSOURCE_PLLCLK;
  RCC_ClkInitStruct.AHBCLKDivider = RCC_SYSCLK_DIV1;
  RCC_ClkInitStruct.APB1CLKDivider = RCC_HCLK_DIV1;
  RCC_ClkInitStruct.APB2CLKDivider = RCC_HCLK_DIV1;

  if (HAL_RCC_ClockConfig(&RCC_ClkInitStruct, FLASH_LATENCY_4) != HAL_OK)
  {
    Error_Handler();
  }
}

static void MX_SPI1_Init(void)
{

  /* SPI1 parameter configuration*/
  hspi1.Instance = SPI1;
  hspi1.Init.Mode = SPI_MODE_MASTER;
  hspi1.Init.Direction = SPI_DIRECTION_2LINES;
  hspi1.Init.DataSize = SPI_DATASIZE_8BIT;
  hspi1.Init.CLKPolarity = SPI_POLARITY_LOW;
  hspi1.Init.CLKPhase = SPI_PHASE_1EDGE;
  hspi1.Init.NSS = SPI_NSS_SOFT;
  hspi1.Init.BaudRatePrescaler = SPI_BAUDRATEPRESCALER_16;
  hspi1.Init.FirstBit = SPI_FIRSTBIT_MSB;
  hspi1.Init.TIMode = SPI_TIMODE_DISABLE;
  hspi1.Init.CRCCalculation = SPI_CRCCALCULATION_DISABLE;
  hspi1.Init.CRCPolynomial = 7;
  hspi1.Init.CRCLength = SPI_CRC_LENGTH_DATASIZE;
  hspi1.Init.NSSPMode = SPI_NSS_PULSE_ENABLE;
  if (HAL_SPI_Init(&hspi1) != HAL_OK)
  {
    Error_Handler();
  }

}

static void MX_TIM2_Init(void)
{

  TIM_ClockConfigTypeDef sClockSourceConfig = {0};
  TIM_MasterConfigTypeDef sMasterConfig = {0};

  htim2.Instance = TIM2;
  htim2.Init.Prescaler = 80-1;
  htim2.Init.CounterMode = TIM_COUNTERMODE_UP;
  htim2.Init.Period = 0xffffffff-1;
  htim2.Init.ClockDivision = TIM_CLOCKDIVISION_DIV1;
  htim2.Init.AutoReloadPreload = TIM_AUTORELOAD_PRELOAD_DISABLE;
  if (HAL_TIM_Base_Init(&htim2) != HAL_OK)
  {
    Error_Handler();
  }
  sClockSourceConfig.ClockSource = TIM_CLOCKSOURCE_INTERNAL;
  if (HAL_TIM_ConfigClockSource(&htim2, &sClockSourceConfig) != HAL_OK)
  {
    Error_Handler();
  }
  sMasterConfig.MasterOutputTrigger = TIM_TRGO_RESET;
  sMasterConfig.MasterSlaveMode = TIM_MASTERSLAVEMODE_DISABLE;
  if (HAL_TIMEx_MasterConfigSynchronization(&htim2, &sMasterConfig) != HAL_OK)
  {
    Error_Handler();
  }

}

static void MX_USART2_UART_Init(void)
{

  huart2.Instance = USART2;
  huart2.Init.BaudRate = 115200;
  huart2.Init.WordLength = UART_WORDLENGTH_8B;
  huart2.Init.StopBits = UART_STOPBITS_1;
  huart2.Init.Parity = UART_PARITY_NONE;
  huart2.Init.Mode = UART_MODE_TX_RX;
  huart2.Init.HwFlowCtl = UART_HWCONTROL_NONE;
  huart2.Init.OverSampling = UART_OVERSAMPLING_16;
  huart2.Init.OneBitSampling = UART_ONE_BIT_SAMPLE_DISABLE;
  huart2.AdvancedInit.AdvFeatureInit = UART_ADVFEATURE_NO_INIT;
  if (HAL_UART_Init(&huart2) != HAL_OK)
  {
    Error_Handler();
  }

}

static void MX_DMA_Init(void)
{

  /* DMA controller clock enable */
  __HAL_RCC_DMA1_CLK_ENABLE();

  /* DMA interrupt init */
  /* DMA1_Channel2_IRQn interrupt configuration */
  HAL_NVIC_SetPriority(DMA1_Channel2_IRQn, 0, 0);
  HAL_NVIC_EnableIRQ(DMA1_Channel2_IRQn);
  /* DMA1_Channel3_IRQn interrupt configuration */
  HAL_NVIC_SetPriority(DMA1_Channel3_IRQn, 0, 0);
  HAL_NVIC_EnableIRQ(DMA1_Channel3_IRQn);

}

static void MX_GPIO_Init(void)
{
  GPIO_InitTypeDef GPIO_InitStruct = {0};

  /* GPIO Ports Clock Enable */
  __HAL_RCC_GPIOC_CLK_ENABLE();
  __HAL_RCC_GPIOH_CLK_ENABLE();
  __HAL_RCC_GPIOA_CLK_ENABLE();
  __HAL_RCC_GPIOB_CLK_ENABLE();

  /*Configure GPIO pin Output Level */
  HAL_GPIO_WritePin(LD4_GPIO_Port, LD4_Pin, GPIO_PIN_RESET);

  /*Configure GPIO pin Output Level */
  HAL_GPIO_WritePin(GPIOC, BMI085_NSSg_Pin|BMI085_NSSa_Pin, GPIO_PIN_SET);

  /*Configure GPIO pin : B1_Pin */
  GPIO_InitStruct.Pin = B1_Pin;
  GPIO_InitStruct.Mode = GPIO_MODE_IT_FALLING;
  GPIO_InitStruct.Pull = GPIO_NOPULL;
  HAL_GPIO_Init(B1_GPIO_Port, &GPIO_InitStruct);

  /*Configure GPIO pin : ACCEL_DRDY_Pin */
  GPIO_InitStruct.Pin = ACCEL_DRDY_Pin;
  GPIO_InitStruct.Mode = GPIO_MODE_IT_FALLING;
  GPIO_InitStruct.Pull = GPIO_NOPULL;
  HAL_GPIO_Init(ACCEL_DRDY_GPIO_Port, &GPIO_InitStruct);

  /*Configure GPIO pin : GYRO_DRDY_Pin */
  GPIO_InitStruct.Pin = GYRO_DRDY_Pin;
  GPIO_InitStruct.Mode = GPIO_MODE_IT_FALLING;
  GPIO_InitStruct.Pull = GPIO_NOPULL;
  HAL_GPIO_Init(GYRO_DRDY_GPIO_Port, &GPIO_InitStruct);

  /*Configure GPIO pin : LD4_Pin */
  GPIO_InitStruct.Pin = LD4_Pin;
  GPIO_InitStruct.Mode = GPIO_MODE_OUTPUT_PP;
  GPIO_InitStruct.Pull = GPIO_NOPULL;
  GPIO_InitStruct.Speed = GPIO_SPEED_FREQ_LOW;
  HAL_GPIO_Init(LD4_GPIO_Port, &GPIO_InitStruct);

  /*Configure GPIO pins : BMI085_NSSg_Pin BMI085_NSSa_Pin */
  GPIO_InitStruct.Pin = BMI085_NSSg_Pin|BMI085_NSSa_Pin;
  GPIO_InitStruct.Mode = GPIO_MODE_OUTPUT_PP;
  GPIO_InitStruct.Pull = GPIO_NOPULL;
  GPIO_InitStruct.Speed = GPIO_SPEED_FREQ_LOW;
  HAL_GPIO_Init(GPIOC, &GPIO_InitStruct);

  /* EXTI interrupt init*/
  HAL_NVIC_SetPriority(EXTI0_IRQn, 0, 0);
  HAL_NVIC_EnableIRQ(EXTI0_IRQn);

  HAL_NVIC_SetPriority(EXTI2_IRQn, 0, 0);
  HAL_NVIC_EnableIRQ(EXTI2_IRQn);

}

/* USER CODE BEGIN 4 */

/*!
 * @brief This function converts lsb to meter per second squared for 16 bit accelerometer at
 * range 2G, 4G, 8G or 16G.
 */
static float lsb_to_mps2(int16_t val, int8_t g_range, uint8_t bit_width)
{
    double power = 2;

    float half_scale = (float)((pow((double)power, (double)bit_width) / 2.0f));

    return (GRAVITY_EARTH * val * g_range) / half_scale;
}

/*!
 * @brief This function converts lsb to degree per second for 16 bit gyro at
 * range 125, 250, 500, 1000 or 2000dps.
 */
static float lsb_to_dps(int16_t val, float dps, uint8_t bit_width)
{
    double power = 2;

    float half_scale = (float)((pow((double)power, (double)bit_width) / 2.0f));

    return (dps / (half_scale)) * (val);
}

// These functions are the only ones that really need to be implemented
BMI08X_INTF_RET_TYPE bmi08x_spi_read(uint8_t reg_addr, uint8_t *reg_data,
		uint32_t len, void *intf_ptr) {

	dev_addr = *(uint16_t*) intf_ptr;
//	uint16_t tx = (reg_addr) << 8;

	HAL_GPIO_WritePin(GPIOC, dev_addr, GPIO_PIN_RESET);
	while(!(tx_rdy && rx_rdy));
	tx_rdy = 0;
//	rx_rdy = 0;

	if (HAL_SPI_Transmit_DMA(&hspi1, &reg_addr, sizeof(reg_addr)) != HAL_OK) {
		return 1;
	}

//	tx_rdy = 0;
	while(!(tx_rdy));
	rx_rdy = 0;
	if (HAL_SPI_Receive_DMA(&hspi1, reg_data, len) != HAL_OK) {
			return 1;
	}
//
//	tx_rdy = 0;
	while(!(rx_rdy));
	HAL_GPIO_WritePin(GPIOC, dev_addr, GPIO_PIN_SET);
//	bmi08x_delay_us(200, 0);
	return 0;
}

BMI08X_INTF_RET_TYPE bmi08x_spi_write(uint8_t reg_addr, const uint8_t *reg_data,
		uint32_t len, void *intf_ptr) {

	dev_addr = *(uint16_t*) intf_ptr;

	HAL_GPIO_WritePin(GPIOC, dev_addr, GPIO_PIN_RESET);

	while(!(tx_rdy && rx_rdy) );
	tx_rdy = 0;
//	rx_rdy = 0;

	if (HAL_SPI_Transmit_DMA(&hspi1, &reg_addr, sizeof(reg_addr)) != HAL_OK) {
		return 1;
	}

//	rx_rdy = 0;
//	tx_rdy = 0;
	while(!tx_rdy);
	tx_rdy = 0;
	if (HAL_SPI_Transmit_DMA(&hspi1,  reg_data, len) != HAL_OK) {
			return 1;
	}
//
//	tx_rdy = 0;
	while(!tx_rdy);
	HAL_GPIO_WritePin(GPIOC, dev_addr, GPIO_PIN_SET);
	return 0;
}

void bmi08x_delay_us(uint32_t period, void *intf_ptr) {
//    coines_delay_usec(period);
	__HAL_TIM_SET_COUNTER(&htim2, 0);  // set the counter value a 0
	while (__HAL_TIM_GET_COUNTER(&htim2) < period)
		;  // wait for the counter to reach the us input in the parameter
}

/*!
 *  @brief Function to select the interface between SPI and I2C.
 *  Also to initialize coines platform
 */
int8_t bmi08x_interface_init(struct bmi08x_dev *bmi08x, uint8_t intf,
		uint8_t variant) {
	int8_t rslt = BMI08X_OK;
//    struct coines_board_info board_info;

	if (bmi08x != NULL) {

#if defined(PC)
        setbuf(stdout, NULL);
#endif

		bmi08x_delay_us(1000, 0);

		/* Bus configuration : I2C */
		if (intf == BMI08X_I2C_INTF) {
		}
		/* Bus configuration : SPI */
		// BMI085a_NSS_Pin|BMI085g_NSS_Pin|BMI085_PS_Pin
		else if (intf == BMI08X_SPI_INTF) {

			bmi08x->intf = BMI08X_SPI_INTF;
			bmi08x->read = bmi08x_spi_read;
			bmi08x->write = bmi08x_spi_write;

			/* SPI chip select pin for Accel (CSB1_A) */
			acc_dev_add = BMI085_NSSa_Pin;

			/* SPI chip select pin for Gyro (CSB2_G) */
			gyro_dev_add = BMI085_NSSg_Pin;

			/* CSB1 pin is made high for selecting SPI protocol (accelerometer)*/
			// Done through STM32CubeIDE
//			HAL_GPIO_WritePin(GPIOC, BMI085_NSSa_Pin, GPIO_PIN_SET);
			bmi08x_delay_us(1000, 00);
//            coines_set_pin_config(COINES_SHUTTLE_PIN_8, COINES_PIN_DIRECTION_OUT, COINES_PIN_VALUE_HIGH);
			/* CS pin is made high for selecting SPI protocol*/
//			HAL_GPIO_WritePin(GPIOC, BMI085_NSSg_Pin, GPIO_PIN_SET);
//			HAL_Delay(10);
			// Done through STM32CubeIDE
//            coines_set_pin_config(COINES_SHUTTLE_PIN_14, COINES_PIN_DIRECTION_OUT, COINES_PIN_VALUE_HIGH);
			/* PS pin is made low for selecting SPI protocol*/

//            coines_set_pin_config(COINES_SHUTTLE_PIN_9, COINES_PIN_DIRECTION_OUT, COINES_PIN_VALUE_LOW);
//			HAL_GPIO_WritePin(GPIOC, BMI085_PS_Pin, GPIO_PIN_RESET);
//			HAL_Delay(10);
//            coines_config_spi_bus(COINES_SPI_BUS_0, COINES_SPI_SPEED_5_MHZ, COINES_SPI_MODE3);
		}

		/* Selection of bmi085 or bmi088 sensor variant */
		bmi08x->variant = variant;

		/* Assign accel device address to accel interface pointer */
		bmi08x->intf_ptr_accel = &acc_dev_add;

		/* Assign gyro device address to gyro interface pointer */
		bmi08x->intf_ptr_gyro = &gyro_dev_add;

		/* Configure delay in microseconds */
		bmi08x->delay_us = bmi08x_delay_us;

		/* Configure max read/write length (in bytes) ( Supported length depends on target machine) */
		bmi08x->read_write_len = 1;

//        coines_delay_usec(10000);
		bmi08x_delay_us(1000, 0);

//        coines_set_shuttleboard_vdd_vddio_config(3300, 3300);

//        coines_delay_usec(10000);
		bmi08x_delay_us(1000, 0);
	} else {
		rslt = BMI08X_E_NULL_PTR;
	}

	return rslt;

}

/*!
 *  @brief Prints the execution status of the APIs.
 */
void bmi08x_error_codes_print_result(const char api_name[], int8_t rslt) {
	if (rslt != BMI08X_OK) {
		printf("%s\t", api_name);
		error_status = rslt;
		if (rslt == BMI08X_E_NULL_PTR) {
			printf("Error [%d] : Null pointer\r\n", rslt);
		} else if (rslt == BMI08X_E_COM_FAIL) {
			printf("Error [%d] : Communication failure\r\n", rslt);
		} else if (rslt == BMI08X_E_DEV_NOT_FOUND) {
			printf("Error [%d] : Device not found\r\n", rslt);
		} else if (rslt == BMI08X_E_OUT_OF_RANGE) {
			printf("Error [%d] : Out of Range\r\n", rslt);
		} else if (rslt == BMI08X_E_INVALID_INPUT) {
			printf("Error [%d] : Invalid input\r\n", rslt);
		} else if (rslt == BMI08X_E_CONFIG_STREAM_ERROR) {
			printf("Error [%d] : Config stream error\r\n", rslt);
		} else if (rslt == BMI08X_E_RD_WR_LENGTH_INVALID) {
			printf("Error [%d] : Invalid Read write length\r\n", rslt);
		} else if (rslt == BMI08X_E_INVALID_CONFIG) {
			printf("Error [%d] : Invalid config\r\n", rslt);
		} else if (rslt == BMI08X_E_FEATURE_NOT_SUPPORTED) {
			printf("Error [%d] : Feature not supported\r\n", rslt);
		} else if (rslt == BMI08X_W_FIFO_EMPTY) {
			printf("Warning [%d] : FIFO empty\r\n", rslt);
		} else {
			printf("Error [%d] : Unknown error code\r\n", rslt);
		}
	}

}

void HAL_SPI_RxCpltCallback(SPI_HandleTypeDef * hspi) { // Message received .. Do Something ...
	rx_rdy = 1;
}

void HAL_SPI_TxCpltCallback(SPI_HandleTypeDef * hspi) { // Message received .. Do Something ...
	tx_rdy = 1;
//	if(rx_rdy == 0){ // We are to receive data
//		rx_rdy = 1;
//	}
}
void HAL_SPI_TxRxCpltCallback(SPI_HandleTypeDef * hspi) { // Message received .. Do Something ...
	if(hspi->State == HAL_SPI_STATE_READY){

		tx_rdy = 1;
		rx_rdy = 1;
	}
}
/* USER CODE END 4 */

void Error_Handler(void)
{
	__disable_irq();
	while (1) {
	}
}
